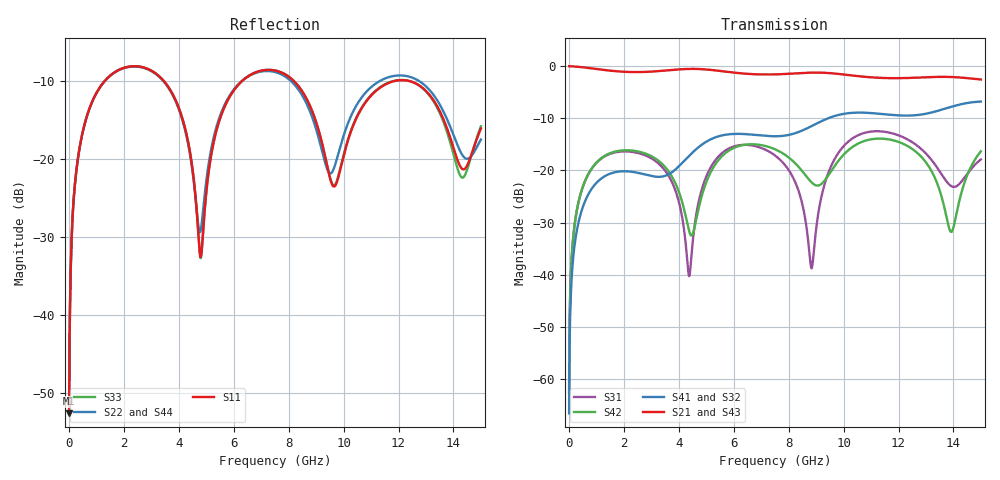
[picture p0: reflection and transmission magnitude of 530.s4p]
! Created with skrf 1.8.0 (http://scikit-rf.org).
# GHz S RI R 50.0
!freq ReS11 ImS11 ReS12 ImS12 ReS13 ImS13
! ReS14 ImS14
! ReS21 ImS21 ReS22 ImS22 ReS23 ImS23
! ReS24 ImS24
! ReS31 ImS31 ReS32 ImS32 ReS33 ImS33
! ReS34 ImS34
! ReS41 ImS41 ReS42 ImS42 ReS43 ImS43
! ReS44 ImS44
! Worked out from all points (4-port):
!   2499 points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, 5 MHz to 15 GHz, reference 50 ohm
!   strongest paths, dB at 5 MHz, 3.476 GHz, 7.19 GHz, 11.1 GHz, 15 GHz:
!     S21: 0.0, -0.9, -1.6, -2.2, -2.6
!     S43: 0.0, -0.9, -1.6, -2.2, -2.6
!     S41: -66.5, -21.1, -13.4, -9.0, -6.8
!     S32: -66.5, -21.1, -13.4, -9.1, -6.8
!     S42: -62.6, -19.2, -15.4, -14.0, -16.3
!     S31: -62.6, -19.9, -16.1, -12.5, -17.9
!   lowest |S11| = -52.6 dB at 5 MHz (marker M1), VSWR 1.00, Z = 50.2 + j0.143 ohm
!   |S11| at or under -10 dB: 3.459 GHz to 6.293 GHz (2.834 GHz wide, 58.1 % of centre); 8.196 GHz to 11.82 GHz (3.628 GHz wide, 36.2 % of centre); 12.42 GHz to end of sweep (the widest 3 of 4)
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0.005  0.00187 0.00143  0.9981 -0.00365  9.45e-05 0.000735  -9.19e-05 -0.000463
       0.9981 -0.00365  0.00187 0.00143  -9.19e-05 -0.000463  9.47e-05 0.000735
       9.45e-05 0.000735  -9.19e-05 -0.000463  0.00187 0.00143  0.9981 -0.00365
       -9.19e-05 -0.000463  9.47e-05 0.000735  0.9981 -0.00365  0.00187 0.00143
1.369321  0.2751 0.1768  0.5422 -0.7332  0.1242 0.0635  -0.0899 -0.00511
          0.5422 -0.7332  0.2732 0.1781  -0.0898 -0.00526  0.1301 0.0554
          0.1242 0.0635  -0.0898 -0.00526  0.2752 0.1768  0.5421 -0.7332
          -0.0899 -0.00511  0.1301 0.0554  0.5421 -0.7332  0.2731 0.1782
4.798182  0.0237 6.74e-06  -0.9341 -0.0507  0.0212 0.0568  -0.00312 0.1735
          -0.9341 -0.0507  0.0345 0.00652  -0.00576 0.1734  -0.0089 0.0517
          0.0212 0.0568  -0.00576 0.1734  0.0232 -0.00087  -0.9341 -0.0508
          -0.00312 0.1735  -0.0089 0.0517  -0.9341 -0.0508  0.0352 0.00543
7.190496  0.3735 0.00856  -0.1056 0.8235  0.1468 -0.0538  0.2106 -0.0397
          -0.1056 0.8235  0.3675 0.00849  0.21 -0.0347  0.1479 -0.0849
          0.1468 -0.0538  0.21 -0.0347  0.3739 0.00794  -0.105 0.8237
          0.2106 -0.0397  0.1479 -0.0849  -0.105 0.8237  0.3663 0.00853
8.834931  0.1443 -0.1494  0.6804 0.5351  -0.0112 -0.00296  0.1562 -0.2157
          0.6804 0.5351  0.1435 -0.1252  0.1626 -0.2109  -0.0611 -0.0467
          -0.0112 -0.00296  0.1626 -0.2109  0.1445 -0.1499  0.681 0.5342
          0.1562 -0.2157  -0.0611 -0.0467  0.681 0.5342  0.144 -0.1255
9.879116  0.078 0.0356  0.8369 -0.0386  0.0759 0.1365  -0.0398 -0.3412
          0.8369 -0.0386  0.1028 0.0623  -0.0303 -0.3416  0.00972 0.1299
          0.0759 0.1365  -0.0303 -0.3416  0.0799 0.0357  0.8369 -0.0399
          -0.0398 -0.3412  0.00972 0.1299  0.8369 -0.0399  0.1016 0.0596
15  0.1269 0.0931  -0.7362 0.1057  0.0462 0.1188  0.1089 0.4441
    -0.7362 0.1057  0.1261 0.0449  0.0878 0.4483  0.1242 0.0888
    0.0462 0.1188  0.0878 0.4483  0.1245 0.1045  -0.7338 0.1131
    0.1089 0.4441  0.1242 0.0888  -0.7338 0.1131  0.1308 0.0488
